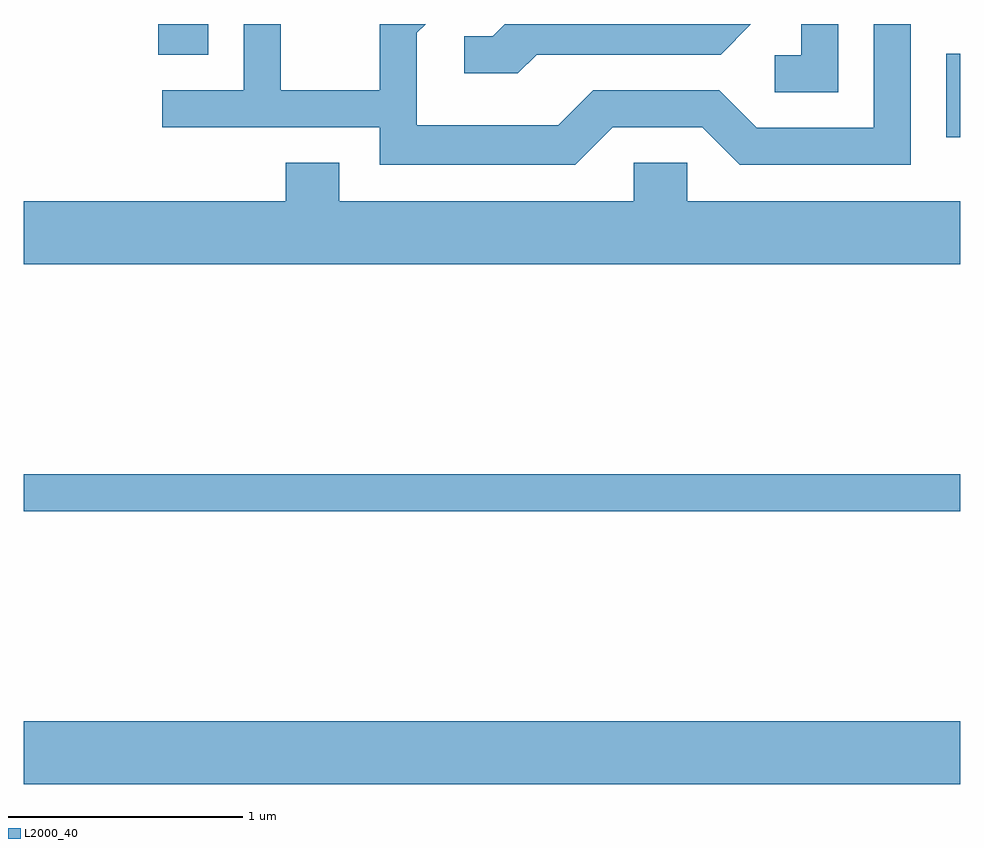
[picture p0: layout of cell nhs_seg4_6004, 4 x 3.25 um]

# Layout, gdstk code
import gdstk
lib = gdstk.Library(unit=1e-6, precision=1e-09)
def R(c, l, rs):  # rectangles x0, y0, x1, y1
    for r in rs: c.add(gdstk.rectangle(r[:2], r[2:], *l))
def P(c, l, *ps):  # polygons
    for p in ps: c.add(gdstk.Polygon(p, *l))
L2000_40 = (2000, 40)

nhs_seg4_6004 = lib.new_cell('nhs_seg4_6004')
R(nhs_seg4_6004, L2000_40, [(361.611,1294.736,365.611,1295.004), (361.611,1295.901,365.611,1296.059), (365.551,1297.498,365.611,1297.854), (362.186,1297.851,362.399,1297.982)])
P(nhs_seg4_6004, L2000_40, [(364.127,1297.541),(364.509,1297.541),(364.669,1297.381),(365.399,1297.381),(365.399,1297.982),(365.241,1297.982),(365.241,1297.539),(364.742,1297.539),(364.582,1297.699),(364.044,1297.699),(363.894,1297.549),(363.289,1297.549),(363.289,1297.944),(363.327,1297.982),(363.131,1297.982),(363.131,1297.699),(362.709,1297.699),(362.709,1297.982),(362.551,1297.982),(362.551,1297.699),(362.203,1297.699),(362.203,1297.541),(363.131,1297.541),(363.131,1297.381),(363.967,1297.381)],
  [(363.802,1297.851),(364.587,1297.851),(364.717,1297.982),(363.666,1297.982),(363.614,1297.929),(363.493,1297.929),(363.493,1297.771),(363.722,1297.771)],
  [(365.089,1297.982),(364.931,1297.982),(364.931,1297.849),(364.818,1297.849),(364.818,1297.691),(365.089,1297.691)],
  [(365.611,1297.224),(364.444,1297.224),(364.444,1297.389),(364.216,1297.389),(364.216,1297.224),(362.959,1297.224),(362.959,1297.389),(362.731,1297.389),(362.731,1297.224),(361.611,1297.224),(361.611,1296.956),(365.611,1296.956)])

lib.write_gds('nhs_seg4_6004.gds')
